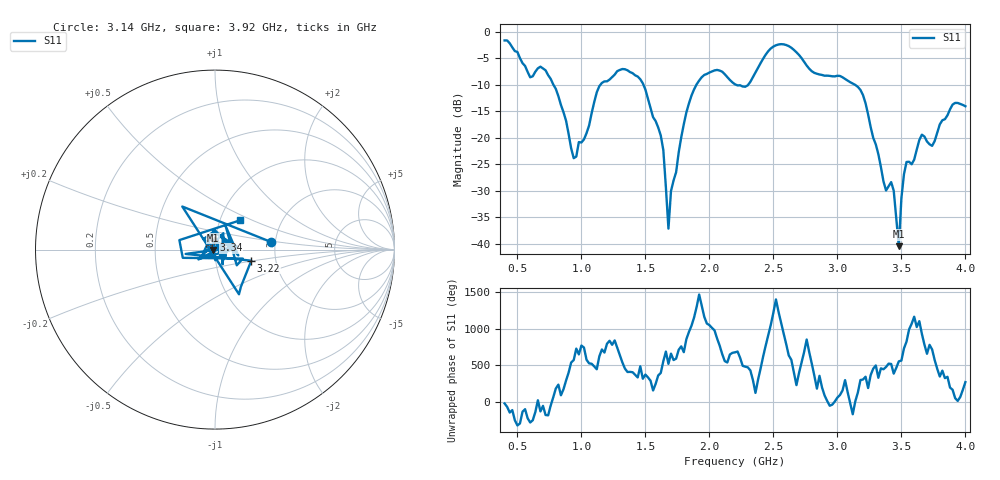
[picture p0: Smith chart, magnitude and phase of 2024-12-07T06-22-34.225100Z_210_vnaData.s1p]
!Created with skrf (http://scikit-rf.org).
# Hz S RI R 50.0
!freq ReS11 ImS11
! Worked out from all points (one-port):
!   181 points, 400 MHz to 4 GHz, reference 50 ohm
!   lowest |S11| = -40.5 dB at 3.48 GHz (marker M1), VSWR 1.02, Z = 49.1 - j0.23 ohm
!   |S11| at or under -10 dB: 781.2 MHz to 1.149 GHz (367.9 MHz wide, 38.1 % of centre); 1.484 GHz to 1.899 GHz (414.4 MHz wide, 24.5 % of centre); 3.137 GHz to end of sweep (the widest 3 of 4)
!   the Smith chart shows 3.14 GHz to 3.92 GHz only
!   S11 on the Smith chart (normalised r, x): 3.14 GHz: 1.89, +0.18; 3.22 GHz: 1.49, -0.19; 3.34 GHz: 0.98, +0.10; 3.92 GHz: 1.24, +0.42
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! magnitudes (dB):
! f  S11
! 400 MHz  -1.7
! 600 MHz  -8.6
! 720 MHz  -7.3
! 860 MHz  -15.2
! 960 MHz  -23.6
! 1.14 GHz  -10.3
! 1.3 GHz  -7.2
! 1.48 GHz  -9.7
! 1.62 GHz  -19.6
! 1.64 GHz  -22.3
! 1.68 GHz  -37.1
! 1.7 GHz  -30.1
! 1.76 GHz  -22.8
! 1.84 GHz  -13.5
! 1.94 GHz  -8.6
! 2.2 GHz  -9.9
! 2.5 GHz  -2.8
! 2.66 GHz  -3.4
! 3.1 GHz  -9.5
! 3.14 GHz  -10.0
! 3.22 GHz  -13.5
! 3.34 GHz  -25.5
! 3.44 GHz  -30.0
! 3.48 GHz  -40.5
! 3.52 GHz  -26.9
! 3.56 GHz  -24.5
! 3.92 GHz  -13.4
! 4 GHz  -14.1
